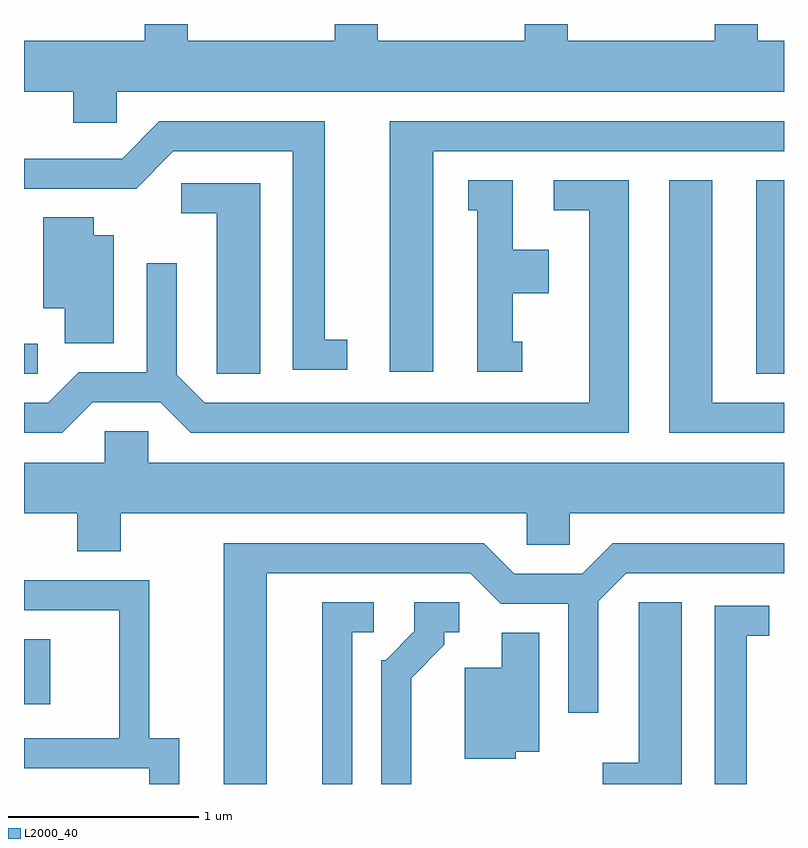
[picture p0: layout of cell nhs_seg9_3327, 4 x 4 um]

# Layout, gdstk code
import gdstk
lib = gdstk.Library(unit=1e-6, precision=1e-09)
def R(c, l, rs):  # rectangles x0, y0, x1, y1
    for r in rs: c.add(gdstk.rectangle(r[:2], r[2:], *l))
def P(c, l, *ps):  # polygons
    for p in ps: c.add(gdstk.Polygon(p, *l))
L2000_40 = (2000, 40)

nhs_seg9_3327 = lib.new_cell('nhs_seg9_3327')
R(nhs_seg9_3327, L2000_40, [(283.611,1950.851,283.749,1951.194), (283.611,1952.591,283.683,1952.749), (287.466,1952.591,287.611,1953.609)])
P(nhs_seg9_3327, L2000_40, [(287.611,1954.344),(287.474,1954.344),(287.474,1954.432),(287.246,1954.432),(287.246,1954.344),(286.474,1954.344),(286.474,1954.432),(286.246,1954.432),(286.246,1954.344),(285.474,1954.344),(285.474,1954.432),(285.246,1954.432),(285.246,1954.344),(284.474,1954.344),(284.474,1954.432),(284.246,1954.432),(284.246,1954.344),(283.611,1954.344),(283.611,1954.076),(283.871,1954.076),(283.871,1953.911),(284.099,1953.911),(284.099,1954.076),(287.611,1954.076)],
  [(285.764,1953.761),(287.611,1953.761),(287.611,1953.919),(285.536,1953.919),(285.536,1952.601),(285.764,1952.601)],
  [(285.313,1952.769),(285.194,1952.769),(285.194,1953.919),(284.324,1953.919),(284.129,1953.724),(283.611,1953.724),(283.611,1953.566),(284.202,1953.566),(284.397,1953.761),(285.026,1953.761),(285.026,1952.611),(285.313,1952.611)],
  [(283.972,1952.441),(284.329,1952.441),(284.489,1952.281),(286.794,1952.281),(286.794,1953.609),(286.398,1953.609),(286.398,1953.451),(286.586,1953.451),(286.586,1952.439),(284.562,1952.439),(284.414,1952.587),(284.414,1953.173),(284.256,1953.173),(284.256,1952.599),(283.899,1952.599),(283.739,1952.439),(283.611,1952.439),(283.611,1952.281),(283.812,1952.281)],
  [(286.233,1952.759),(286.184,1952.759),(286.184,1953.016),(286.374,1953.016),(286.374,1953.244),(286.184,1953.244),(286.184,1953.609),(285.948,1953.609),(285.948,1953.451),(285.996,1953.451),(285.996,1952.601),(286.233,1952.601)],
  [(287.611,1952.439),(287.234,1952.439),(287.234,1953.609),(287.006,1953.609),(287.006,1952.281),(287.611,1952.281)],
  [(284.854,1953.594),(284.438,1953.594),(284.438,1953.436),(284.626,1953.436),(284.626,1952.591),(284.854,1952.591)],
  [(284.084,1953.319),(283.979,1953.319),(283.979,1953.414),(283.711,1953.414),(283.711,1952.936),(283.826,1952.936),(283.826,1952.751),(284.084,1952.751)],
  [(284.119,1951.856),(286.256,1951.856),(286.256,1951.691),(286.484,1951.691),(286.484,1951.856),(287.611,1951.856),(287.611,1952.124),(284.264,1952.124),(284.264,1952.289),(284.036,1952.289),(284.036,1952.124),(283.611,1952.124),(283.611,1951.856),(283.891,1951.856),(283.891,1951.656),(284.119,1951.656)],
  [(284.889,1951.541),(285.959,1951.541),(286.119,1951.381),(286.476,1951.381),(286.476,1950.808),(286.634,1950.808),(286.634,1951.394),(286.782,1951.541),(287.611,1951.541),(287.611,1951.699),(286.709,1951.699),(286.549,1951.539),(286.192,1951.539),(286.032,1951.699),(284.661,1951.699),(284.661,1950.432),(284.889,1950.432)],
  [(284.429,1950.674),(284.269,1950.674),(284.269,1951.504),(283.611,1951.504),(283.611,1951.346),(284.111,1951.346),(284.111,1950.674),(283.611,1950.674),(283.611,1950.516),(284.271,1950.516),(284.271,1950.432),(284.429,1950.432)],
  [(285.649,1950.989),(285.824,1951.164),(285.824,1951.231),(285.903,1951.231),(285.903,1951.389),(285.666,1951.389),(285.666,1951.237),(285.514,1951.084),(285.491,1951.084),(285.491,1950.432),(285.649,1950.432)],
  [(285.339,1951.231),(285.453,1951.231),(285.453,1951.389),(285.181,1951.389),(285.181,1950.432),(285.339,1950.432)],
  [(287.074,1951.389),(286.846,1951.389),(286.846,1950.544),(286.658,1950.544),(286.658,1950.432),(287.074,1950.432)],
  [(287.414,1951.211),(287.533,1951.211),(287.533,1951.369),(287.246,1951.369),(287.246,1950.432),(287.414,1950.432)],
  [(286.199,1950.601),(286.324,1950.601),(286.324,1951.229),(286.126,1951.229),(286.126,1951.044),(285.931,1951.044),(285.931,1950.566),(286.199,1950.566)])

lib.write_gds('nhs_seg9_3327.gds')
